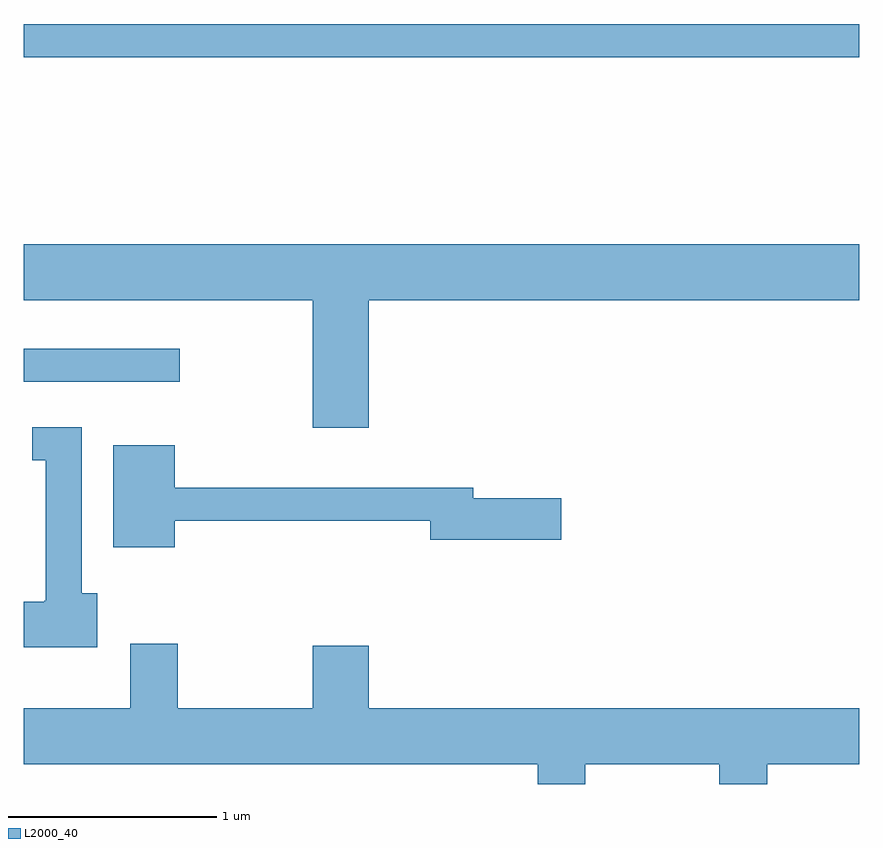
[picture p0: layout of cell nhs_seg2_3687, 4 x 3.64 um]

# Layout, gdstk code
import gdstk
lib = gdstk.Library(unit=1e-6, precision=1e-09)
def R(c, l, rs):  # rectangles x0, y0, x1, y1
    for r in rs: c.add(gdstk.rectangle(r[:2], r[2:], *l))
def P(c, l, *ps):  # polygons
    for p in ps: c.add(gdstk.Polygon(p, *l))
L2000_40 = (2000, 40)

nhs_seg2_3687 = lib.new_cell('nhs_seg2_3687')
R(nhs_seg2_3687, L2000_40, [(293.611,1025.726,294.358,1025.884), (293.611,1027.281,297.611,1027.439)])
P(nhs_seg2_3687, L2000_40, [(295.264,1026.116),(297.611,1026.116),(297.611,1026.384),(293.611,1026.384),(293.611,1026.116),(294.996,1026.116),(294.996,1025.506),(295.264,1025.506)],
  [(293.964,1024.714),(293.889,1024.714),(293.889,1025.509),(293.653,1025.509),(293.653,1025.351),(293.716,1025.351),(293.716,1024.68),(293.71,1024.68),(293.71,1024.674),(293.611,1024.674),(293.611,1024.456),(293.964,1024.456)],
  [(294.334,1025.061),(295.556,1025.061),(295.556,1024.971),(296.184,1024.971),(296.184,1025.169),(295.764,1025.169),(295.764,1025.219),(294.334,1025.219),(294.334,1025.424),(294.041,1025.424),(294.041,1024.936),(294.334,1024.936)],
  [(296.299,1023.896),(296.941,1023.896),(296.941,1023.802),(297.169,1023.802),(297.169,1023.896),(297.611,1023.896),(297.611,1024.164),(295.264,1024.164),(295.264,1024.464),(294.996,1024.464),(294.996,1024.164),(294.349,1024.164),(294.349,1024.474),(294.121,1024.474),(294.121,1024.164),(293.611,1024.164),(293.611,1023.896),(296.071,1023.896),(296.071,1023.802),(296.299,1023.802)])

lib.write_gds('nhs_seg2_3687.gds')
